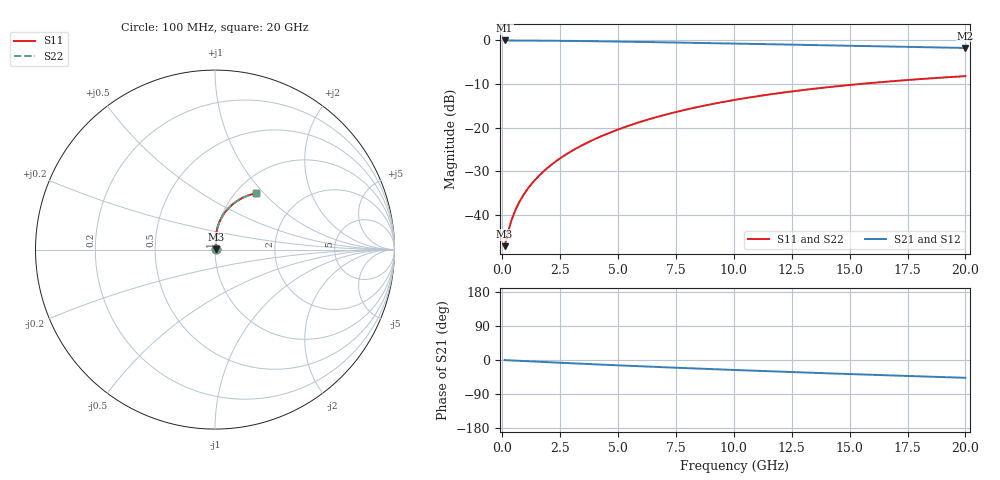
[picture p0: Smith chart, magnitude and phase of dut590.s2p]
! Touchstone file exported from HFSS 2024.1.0
!  File:  C:/UserFiles/LocalFiles/RDL_TSV_Batchsim/temp_RDL_top_590_1779682444.aedt
!  Generated:  12:16:28 PM May 25, 2026
!  Design:  RDL_top
!  Project:  temp_RDL_top_590_1779682444
!  Setup:  Setup1
!  Solution:  Sweep
! Variables:
!  dtsv = 10.80580581um
!  hbump = 3um
!  htsv = 90.75um
!  ldown = 100um
!  lrdl = 641.98um
!  p = 40
!  p1 = 59.96um
!  rhole = 1um
!  t = 450um
!  tdown = 3.915915916um
!  trdl = 2.25um
!  wdown = 15.38538539um
!  wrdl = 28.45um
# GHz S MA R 50.000000
! Terminal data exported
! Port[1] = Box2_T1
! Port[2] = Box2_T2
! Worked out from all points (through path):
!   200 points, 100 MHz to 20 GHz, reference 50 ohm
!   highest |S21| = -0.03 dB at 100 MHz (marker M1); lowest = -1.8 dB at 20 GHz (marker M2)
!   group delay of S21, straight-line fit = 6.45 ps
!   lowest |S11| = -47.2 dB at 100 MHz (marker M3), VSWR 1.01, Z = 50.4 + j0.2 ohm
!   |S11| at or under -10 dB: start of sweep to 15.46 GHz
!   |S22| runs from -47.2 to -8.2 dB; largest |S21 - S12| = 3.4e-15
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0.1  0.004389 26.9  0.9961 -0.3  0.9961 -0.3  0.004389 26.9
! Gamma 0 0 0 0
! Port Impedance 50 0 50 0
0.3  0.007151 53.6  0.9956 -0.9  0.9956 -0.9  0.007151 53.6
0.4  0.008727 59.6  0.9953 -1.2  0.9953 -1.2  0.008727 59.6
0.5  0.01031 63.7  0.995 -1.5  0.995 -1.5  0.01031 63.7
0.6  0.0119 66.8  0.9948 -1.8  0.9948 -1.8  0.0119 66.8
0.8  0.01508 71.3  0.9942 -2.4  0.9942 -2.4  0.01508 71.3
1  0.01832 74.6  0.9936 -3.0  0.9936 -3.0  0.01832 74.5
1.2  0.02161 77.0  0.993 -3.5  0.993 -3.5  0.02161 76.9
1.7  0.03013 80.9  0.991 -5.0  0.991 -5.0  0.03012 80.9
2.2  0.03901 83.2  0.9886 -6.4  0.9886 -6.4  0.03901 83.2
2.8  0.05017 84.8  0.985 -8.1  0.985 -8.1  0.05016 84.8
3.5  0.06384 85.6  0.9801 -10.1  0.9801 -10.1  0.06382 85.6
4.2  0.07815 85.8  0.9746 -12.0  0.9746 -12.0  0.07812 85.8
5  0.09517 85.3  0.9676 -14.1  0.9676 -14.1  0.09513 85.3
5.9  0.115 84.3  0.9592 -16.4  0.9592 -16.4  0.1149 84.2
6.8  0.1352 82.8  0.9504 -18.7  0.9504 -18.7  0.1351 82.7
8.4  0.1713 79.5  0.9343 -22.5  0.9343 -22.5  0.1712 79.5
10.1  0.2091 75.7  0.9168 -26.5  0.9168 -26.5  0.209 75.6
11.7  0.2433 71.9  0.9003 -30.1  0.9003 -30.1  0.2431 71.9
13.4  0.2776 67.9  0.8828 -33.8  0.8828 -33.8  0.2774 67.9
16.7  0.3378 60.6  0.8494 -40.6  0.8494 -40.6  0.3375 60.5
20  0.3889 53.8  0.8172 -46.9  0.8172 -46.9  0.3885 53.7
